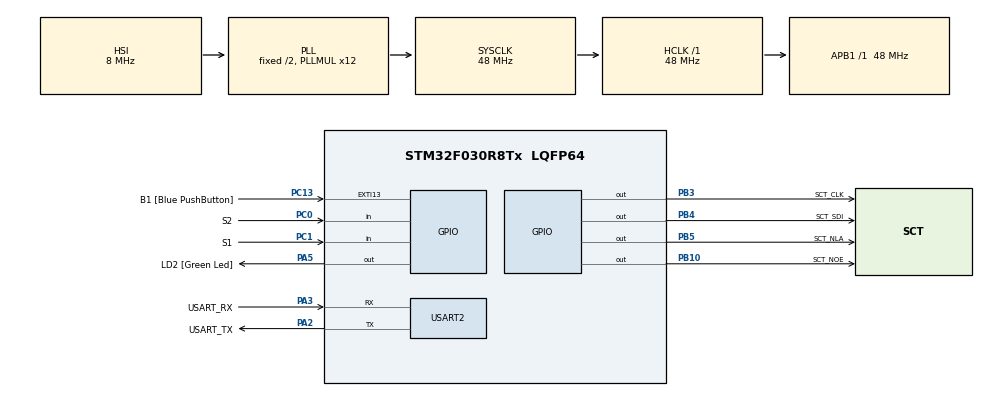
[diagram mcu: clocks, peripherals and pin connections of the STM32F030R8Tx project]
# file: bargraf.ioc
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Mcu.Family=STM32F0
Mcu.Name=STM32F030R8Tx
Mcu.Package=LQFP64
PA13.GPIO_Label=TMS
PA13.Mode=Serial_Wire
PA13.Signal=SYS_SWDIO
PA14.GPIO_Label=TCK
PA14.Mode=Serial_Wire
PA14.Signal=SYS_SWCLK
PA2.GPIO_Label=USART_TX
PA2.GPIO_Mode=GPIO_MODE_AF_PP
PA2.GPIO_PuPd=GPIO_NOPULL
PA2.GPIO_Speed=GPIO_SPEED_FREQ_LOW
PA2.Mode=Asynchronous
PA2.Signal=USART2_TX
PA3.GPIO_Label=USART_RX
PA3.GPIO_Mode=GPIO_MODE_AF_PP
PA3.GPIO_PuPd=GPIO_NOPULL
PA3.GPIO_Speed=GPIO_SPEED_FREQ_LOW
PA3.Mode=Asynchronous
PA3.Signal=USART2_RX
PA5.GPIO_Label=LD2 [Green Led]
PA5.GPIO_Mode=GPIO_MODE_OUTPUT_PP
PA5.GPIO_PuPd=GPIO_NOPULL
PA5.GPIO_Speed=GPIO_SPEED_FREQ_LOW
PA5.Signal=GPIO_Output
PB10.GPIO_Label=SCT_NOE
PB10.Signal=GPIO_Output
PB3.GPIO_Label=SCT_CLK
PB3.Signal=GPIO_Output
PB4.GPIO_Label=SCT_SDI
PB4.Signal=GPIO_Output
PB5.GPIO_Label=SCT_NLA
PB5.Signal=GPIO_Output
PC0.GPIO_Label=S2
PC0.GPIO_PuPd=GPIO_PULLUP
PC0.Signal=GPIO_Input
PC1.GPIO_Label=S1
PC1.GPIO_PuPd=GPIO_PULLUP
PC1.Signal=GPIO_Input
PC13.GPIO_Label=B1 [Blue PushButton]
PC13.GPIO_ModeDefaultEXTI=GPIO_MODE_IT_FALLING
PC13.Signal=GPXTI13
PC14-OSC32_IN.Mode=LSE-External-Oscillator
PC14-OSC32_IN.Signal=RCC_OSC32_IN
PC15-OSC32_OUT.Mode=LSE-External-Oscillator
PC15-OSC32_OUT.Signal=RCC_OSC32_OUT
PF0-OSC_IN.Mode=HSE-External-Clock-Source
PF0-OSC_IN.Signal=RCC_OSC_IN
PF1-OSC_OUT.Signal=RCC_OSC_OUT
ProjectManager.HeapSize=0x200
ProjectManager.StackSize=0x400
ProjectManager.TargetToolchain=STM32CubeIDE
RCC.AHBFreq_Value=48000000
RCC.APB1Freq_Value=48000000
RCC.APB1TimFreq_Value=48000000
RCC.HCLKFreq_Value=48000000
RCC.PLLMUL=RCC_PLL_MUL12
RCC.SYSCLKFreq_VALUE=48000000
RCC.SYSCLKSource=RCC_SYSCLKSOURCE_PLLCLK
USART2.VirtualMode-Asynchronous=VM_ASYNC
board=NUCLEO-F030R8

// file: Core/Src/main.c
/* USER CODE BEGIN Header */
/**
  ******************************************************************************
  * @file           : main.c
  * @brief          : Main program body
  ******************************************************************************
  * @attention
  *
  * Copyright (c) 2022 STMicroelectronics.
  * All rights reserved.
  *
  * This software is licensed under terms that can be found in the LICENSE file
  * in the root directory of this software component.
  * If no LICENSE file comes with this software, it is provided AS-IS.
  *
  ******************************************************************************
  */
/* USER CODE END Header */
#include "main.h"

/* USER CODE BEGIN Includes */
#include "sct.h"
/* USER CODE END Includes */

UART_HandleTypeDef huart2;

void SystemClock_Config(void);
static void MX_GPIO_Init(void);
static void MX_USART2_UART_Init(void);

/* USER CODE BEGIN 0 */

void pravo()
{
	uint8_t prav = 0;

	for(uint8_t i =0; i<9; i++)
	{
		sct_value(prav);
		prav++;
		HAL_Delay(1000);
	}
}

void levo()
{
	uint8_t lev = 8;

	for(uint8_t i =8; i>0; i--)
	{
		sct_value(lev);
		lev--;
		HAL_Delay(1000);
	}
}
/* USER CODE END 0 */

int main(void)
{

  /* MCU Configuration--------------------------------------------------------*/

  /* Reset of all peripherals, Initializes the Flash interface and the Systick. */
  HAL_Init();

  /* Configure the system clock */
  SystemClock_Config();

  /* Initialize all configured peripherals */
  MX_GPIO_Init();
  MX_USART2_UART_Init();

  /* Infinite loop */
  while (1)
  {

    /* USER CODE BEGIN 3 */
	  uint32_t last;

		uint8_t r_c = 0;

		for(uint8_t i =0; i<9; i++)
		{
			sct_value(r_c);
			r_c++;
			HAL_Delay(100);
			if(i==8)
			{
				for(uint8_t r=8; r>0; r--)
				{
					sct_value(r_c);
					r_c--;
					HAL_Delay(100);
				}
			}
		}

	  static enum {SHOW_POC,SHOW_LEVO, SHOW_PRAVO} state = SHOW_POC;

	  if(HAL_GPIO_ReadPin(S1_GPIO_Port,S1_Pin)==0)
	  {
		  last=HAL_GetTick();
		  state= SHOW_LEVO;
	  }
	  else if(HAL_GPIO_ReadPin(S2_GPIO_Port,S2_Pin)==0)
	  {
		  last=HAL_GetTick();
		  state= SHOW_PRAVO;
	  }

	  if (state == SHOW_LEVO)
	  {
		  pravo();
	  }
	  else if (state == SHOW_PRAVO)
	  {
		  levo();
	  }
	  else if(state == SHOW_POC)
	  {
		  sct_value(r_c);
	  }

	  if(HAL_GetTick()-last > 1000)
	  {
		  state=SHOW_POC;
	  }

  }
  /* USER CODE END 3 */
}

void SystemClock_Config(void)
{
  RCC_OscInitTypeDef RCC_OscInitStruct = {0};
  RCC_ClkInitTypeDef RCC_ClkInitStruct = {0};

  /** Initializes the RCC Oscillators according to the specified parameters
  * in the RCC_OscInitTypeDef structure.
  */
  RCC_OscInitStruct.OscillatorType = RCC_OSCILLATORTYPE_HSI;
  RCC_OscInitStruct.HSIState = RCC_HSI_ON;
  RCC_OscInitStruct.HSICalibrationValue = RCC_HSICALIBRATION_DEFAULT;
  RCC_OscInitStruct.PLL.PLLState = RCC_PLL_ON;
  RCC_OscInitStruct.PLL.PLLSource = RCC_PLLSOURCE_HSI;
  RCC_OscInitStruct.PLL.PLLMUL = RCC_PLL_MUL12;
  RCC_OscInitStruct.PLL.PREDIV = RCC_PREDIV_DIV1;
  if (HAL_RCC_OscConfig(&RCC_OscInitStruct) != HAL_OK)
  {
    Error_Handler();
  }
  /** Initializes the CPU, AHB and APB buses clocks
  */
  RCC_ClkInitStruct.ClockType = RCC_CLOCKTYPE_HCLK|RCC_CLOCKTYPE_SYSCLK
                              |RCC_CLOCKTYPE_PCLK1;
  RCC_ClkInitStruct.SYSCLKSource = RCC_SYSCLKSOURCE_PLLCLK;
  RCC_ClkInitStruct.AHBCLKDivider = RCC_SYSCLK_DIV1;
  RCC_ClkInitStruct.APB1CLKDivider = RCC_HCLK_DIV1;

  if (HAL_RCC_ClockConfig(&RCC_ClkInitStruct, FLASH_LATENCY_1) != HAL_OK)
  {
    Error_Handler();
  }
}

static void MX_USART2_UART_Init(void)
{

  huart2.Instance = USART2;
  huart2.Init.BaudRate = 38400;
  huart2.Init.WordLength = UART_WORDLENGTH_8B;
  huart2.Init.StopBits = UART_STOPBITS_1;
  huart2.Init.Parity = UART_PARITY_NONE;
  huart2.Init.Mode = UART_MODE_TX_RX;
  huart2.Init.HwFlowCtl = UART_HWCONTROL_NONE;
  huart2.Init.OverSampling = UART_OVERSAMPLING_16;
  huart2.Init.OneBitSampling = UART_ONE_BIT_SAMPLE_DISABLE;
  huart2.AdvancedInit.AdvFeatureInit = UART_ADVFEATURE_NO_INIT;
  if (HAL_UART_Init(&huart2) != HAL_OK)
  {
    Error_Handler();
  }

}

static void MX_GPIO_Init(void)
{
  GPIO_InitTypeDef GPIO_InitStruct = {0};

  /* GPIO Ports Clock Enable */
  __HAL_RCC_GPIOC_CLK_ENABLE();
  __HAL_RCC_GPIOF_CLK_ENABLE();
  __HAL_RCC_GPIOA_CLK_ENABLE();
  __HAL_RCC_GPIOB_CLK_ENABLE();

  /*Configure GPIO pin Output Level */
  HAL_GPIO_WritePin(GPIOA, GPIO_PIN_5, GPIO_PIN_RESET);

  /*Configure GPIO pin Output Level */
  HAL_GPIO_WritePin(GPIOB, GPIO_PIN_10|GPIO_PIN_3|GPIO_PIN_4|GPIO_PIN_5, GPIO_PIN_RESET);

  /*Configure GPIO pin : PC13 */
  GPIO_InitStruct.Pin = GPIO_PIN_13;
  GPIO_InitStruct.Mode = GPIO_MODE_IT_FALLING;
  GPIO_InitStruct.Pull = GPIO_NOPULL;
  HAL_GPIO_Init(GPIOC, &GPIO_InitStruct);

  /*Configure GPIO pins : PC0 PC1 */
  GPIO_InitStruct.Pin = GPIO_PIN_0|GPIO_PIN_1;
  GPIO_InitStruct.Mode = GPIO_MODE_INPUT;
  GPIO_InitStruct.Pull = GPIO_PULLUP;
  HAL_GPIO_Init(GPIOC, &GPIO_InitStruct);

  /*Configure GPIO pin : PA5 */
  GPIO_InitStruct.Pin = GPIO_PIN_5;
  GPIO_InitStruct.Mode = GPIO_MODE_OUTPUT_PP;
  GPIO_InitStruct.Pull = GPIO_NOPULL;
  GPIO_InitStruct.Speed = GPIO_SPEED_FREQ_LOW;
  HAL_GPIO_Init(GPIOA, &GPIO_InitStruct);

  /*Configure GPIO pins : PB10 PB3 PB4 PB5 */
  GPIO_InitStruct.Pin = GPIO_PIN_10|GPIO_PIN_3|GPIO_PIN_4|GPIO_PIN_5;
  GPIO_InitStruct.Mode = GPIO_MODE_OUTPUT_PP;
  GPIO_InitStruct.Pull = GPIO_NOPULL;
  GPIO_InitStruct.Speed = GPIO_SPEED_FREQ_LOW;
  HAL_GPIO_Init(GPIOB, &GPIO_InitStruct);

}

void Error_Handler(void)
{
  __disable_irq();
  while (1)
  {
  }
}
